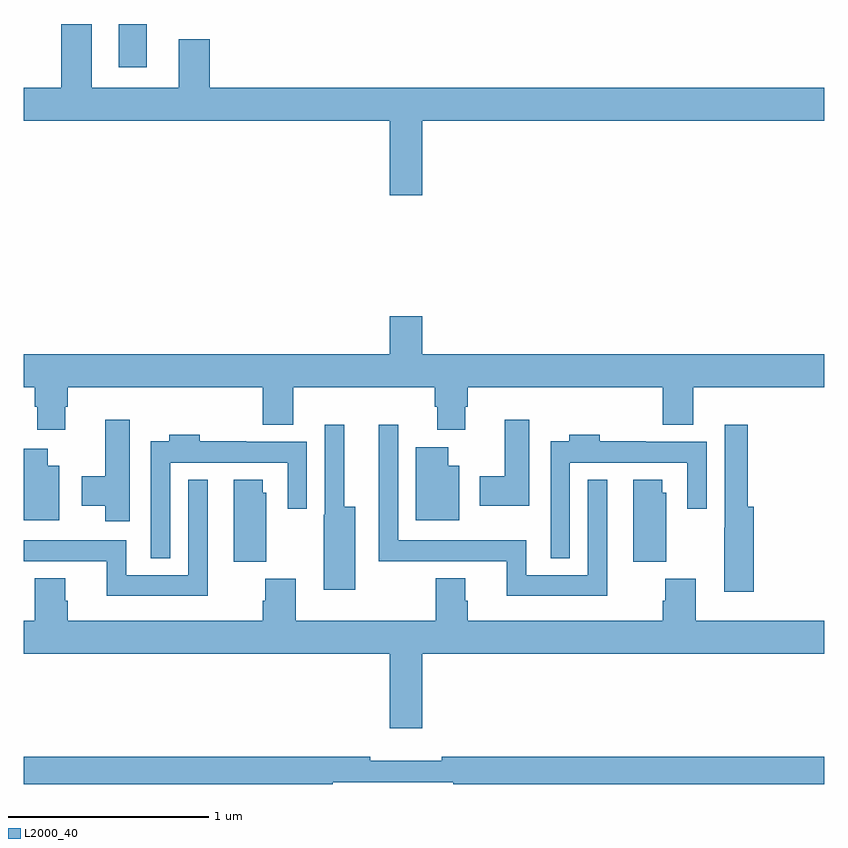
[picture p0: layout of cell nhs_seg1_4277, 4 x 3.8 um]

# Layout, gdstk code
import gdstk
lib = gdstk.Library(unit=1e-6, precision=1e-09)
def R(c, l, rs):  # rectangles x0, y0, x1, y1
    for r in rs: c.add(gdstk.rectangle(r[:2], r[2:], *l))
def P(c, l, *ps):  # polygons
    for p in ps: c.add(gdstk.Polygon(p, *l))
L2000_40 = (2000, 40)

nhs_seg1_4277 = lib.new_cell('nhs_seg1_4277')
R(nhs_seg1_4277, L2000_40, [(343.475,567.984,343.615,568.199)])
P(nhs_seg1_4277, L2000_40, [(344.992,567.716),(347,567.716),(347,567.88),(343.928,567.88),(343.928,568.123),(343.775,568.123),(343.775,567.88),(343.339,567.88),(343.339,568.199),(343.187,568.199),(343.187,567.88),(343,567.88),(343,567.716),(344.828,567.716),(344.828,567.342),(344.992,567.342)],
  [(343.207,566.286),(343.22,566.286),(343.22,566.384),(344.195,566.384),(344.195,566.195),(344.347,566.195),(344.347,566.384),(345.053,566.384),(345.053,566.286),(345.065,566.286),(345.065,566.172),(345.205,566.172),(345.205,566.286),(345.218,566.286),(345.218,566.384),(346.193,566.384),(346.193,566.195),(346.345,566.195),(346.345,566.384),(347,566.384),(347,566.548),(344.992,566.548),(344.992,566.737),(344.828,566.737),(344.828,566.548),(343,566.548),(343,566.384),(343.055,566.384),(343.055,566.286),(343.067,566.286),(343.067,566.172),(343.207,566.172)],
  [(343.528,566.221),(343.406,566.221),(343.406,565.938),(343.289,565.938),(343.289,565.79),(343.406,565.79),(343.406,565.713),(343.528,565.713)],
  [(345.526,566.221),(345.404,566.221),(345.404,565.938),(345.279,565.938),(345.279,565.79),(345.526,565.79)],
  [(345.916,565.921),(345.819,565.921),(345.819,565.444),(345.51,565.444),(345.51,565.618),(344.871,565.618),(344.871,566.197),(344.774,566.197),(344.774,565.846),(344.775,565.846),(344.775,565.514),(345.413,565.514),(345.413,565.34),(345.916,565.34)],
  [(346.649,565.786),(346.619,565.786),(346.619,566.197),(346.503,566.197),(346.503,565.682),(346.502,565.682),(346.502,565.362),(346.649,565.362)],
  [(344.656,565.786),(344.602,565.786),(344.602,566.197),(344.505,566.197),(344.505,565.746),(344.498,565.746),(344.498,565.37),(344.656,565.37)],
  [(345.729,566.006),(346.317,566.006),(346.317,565.776),(346.413,565.776),(346.413,566.11),(346.109,566.11),(346.109,566.113),(345.878,566.113),(345.878,566.146),(345.725,566.146),(345.725,566.113),(345.633,566.113),(345.633,565.529),(345.729,565.529)],
  [(343.731,566.006),(344.319,566.006),(344.319,565.776),(344.415,565.776),(344.415,566.11),(344.111,566.11),(344.111,566.113),(343.88,566.113),(343.88,566.146),(343.727,566.146),(343.727,566.113),(343.635,566.113),(343.635,565.529),(343.731,565.529)],
  [(345.175,565.99),(345.121,565.99),(345.121,566.083),(344.96,566.083),(344.96,565.718),(345.175,565.718)],
  [(343.177,565.99),(343.12,565.99),(343.12,566.077),(343,566.077),(343,565.718),(343.177,565.718)],
  [(343.918,565.921),(343.821,565.921),(343.821,565.444),(343.512,565.444),(343.512,565.618),(343,565.618),(343,565.514),(343.415,565.514),(343.415,565.34),(343.918,565.34)],
  [(344.212,565.857),(344.194,565.857),(344.194,565.921),(344.048,565.921),(344.048,565.51),(344.212,565.51)],
  [(346.21,565.857),(346.192,565.857),(346.192,565.921),(346.046,565.921),(346.046,565.51),(346.21,565.51)],
  [(344.992,565.052),(347,565.052),(347,565.216),(346.358,565.216),(346.358,565.425),(346.205,565.425),(346.205,565.316),(346.193,565.316),(346.193,565.216),(345.218,565.216),(345.218,565.317),(345.205,565.317),(345.205,565.429),(345.058,565.429),(345.058,565.216),(344.36,565.216),(344.36,565.425),(344.207,565.425),(344.207,565.316),(344.195,565.316),(344.195,565.216),(343.22,565.216),(343.22,565.317),(343.207,565.317),(343.207,565.429),(343.055,565.429),(343.055,565.216),(343,565.216),(343,565.052),(344.828,565.052),(344.828,564.678),(344.992,564.678)],
  [(344.545,564.408),(345.145,564.408),(345.145,564.4),(347,564.4),(347,564.536),(345.088,564.536),(345.088,564.517),(344.732,564.517),(344.732,564.536),(343,564.536),(343,564.4),(344.545,564.4)])

lib.write_gds('nhs_seg1_4277.gds')
